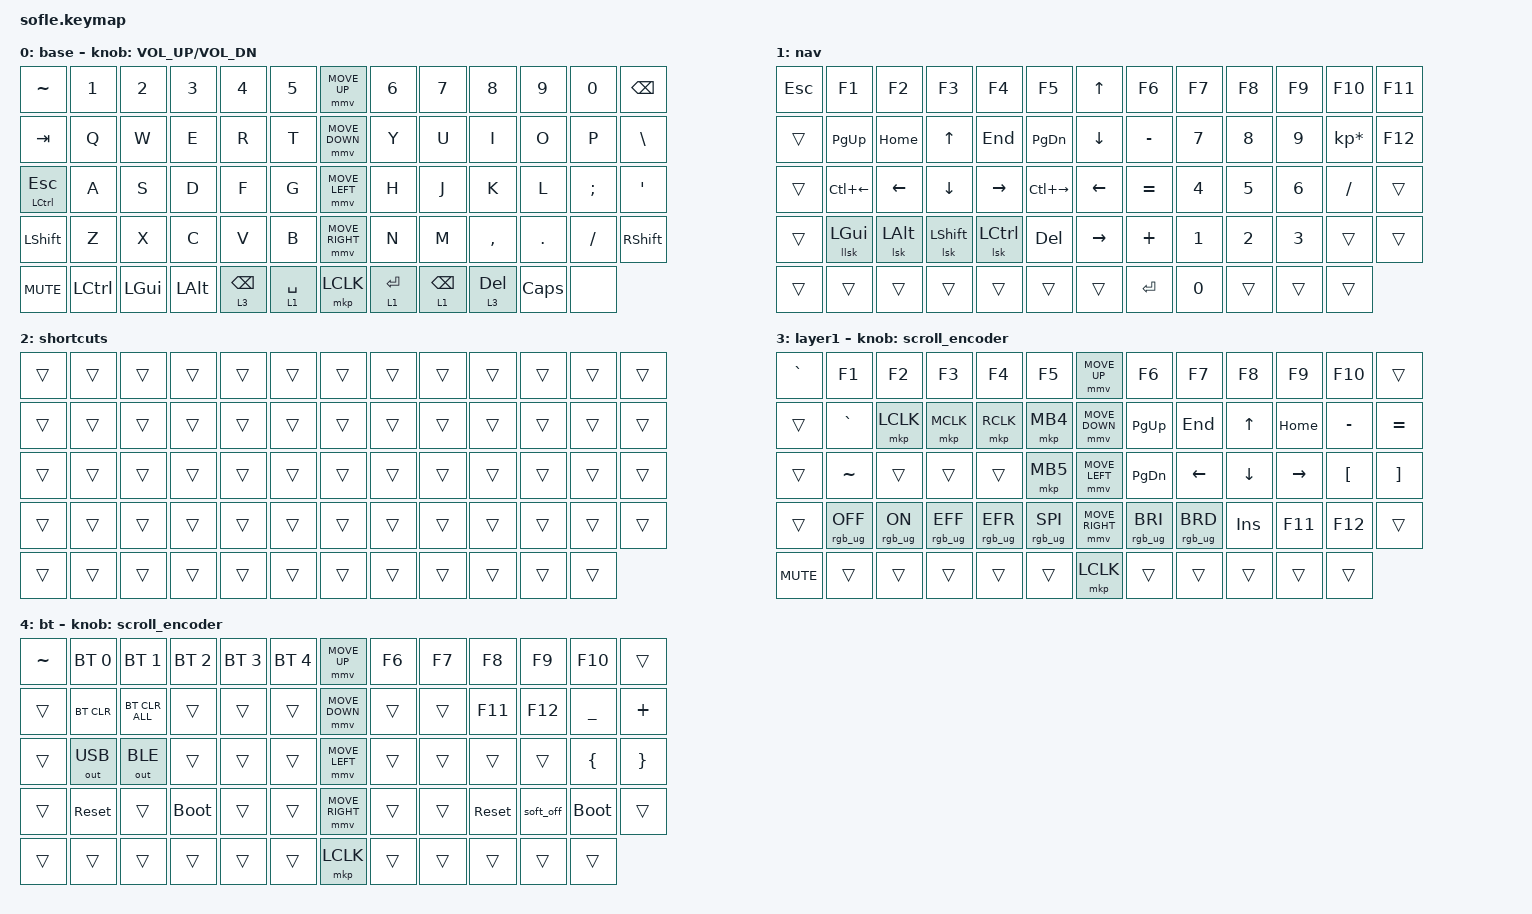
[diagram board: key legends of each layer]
#include <behaviors/mouse_keys.dtsi>
#include <behaviors.dtsi>
#include <dt-bindings/zmk/bt.h>
#include <dt-bindings/zmk/keys.h>
#include <dt-bindings/zmk/mouse.h>
#include <dt-bindings/zmk/outputs.h>
#include <dt-bindings/zmk/rgb.h>

#define ZMK_MOUSE_DEFAULT_MOVE_VAL 1200  // 600
#define ZMK_MOUSE_DEFAULT_SCRL_VAL 20    // 10
#define U_MS_U &mmv MOVE_UP
#define U_MS_D &mmv MOVE_DOWN
#define U_MS_L &mmv MOVE_LEFT
#define U_MS_R &mmv MOVE_RIGHT
#define ZMK_MOUSE_DEFAULT_MOVE_VAL 1200  //  600
#define ZMK_MOUSE_DEFAULT_SCRL_VAL 20    // 10

/ {
    behaviors {
        mmv {
            acceleration-exponent = <1>;      // 1
            time-to-max-speed-ms = <900>;    // 40
            delay-ms = <0>;                   // 0
        };

        msc {
            acceleration-exponent = <1>;      // 0
            time-to-max-speed-ms = <400>;      // 500
            delay-ms = <0>;                   //   10
        };
    };

    scroll_encoder: scroll_encoder {
        compatible = "zmk,behavior-sensor-rotate";
        #sensor-binding-cells = <0>;
        bindings = <&msc SCRL_DOWN>, <&msc SCRL_UP>;

        tap-ms = <30>;
    };

    slt: slt {
        compatible = "zmk,behavior-hold-tap";
        label = "SLT";
        bindings = <&mo>, <&kp>;

        #binding-cells = <2>;
        tapping-term-ms = <175>;
        quick-tap-ms = <155>;
        flavor = "tap-preferred";
    };

    lsk: lsk {
        compatible = "zmk,behavior-sticky-key";
        label = "LSK";
        bindings = <&kp>;
        #binding-cells = <1>;
        release-after-ms = <5000>;
        quick-release;
        ignore-modifiers;
    };

    llsk: llsk {
        compatible = "zmk,behavior-sticky-key";
        label = "LLSK";
        bindings = <&kp>;
        #binding-cells = <1>;
        release-after-ms = <5000>;
        quick-release;
        ignore-modifiers;
        lazy;
    };

    keymap {
        compatible = "zmk,keymap";

        base {
            bindings = <
&kp TILDE         &kp N1     &kp N2        &kp N3        &kp N4            &kp N5          &mmv MOVE_UP     &kp N6        &kp N7            &kp N8         &kp N9    &kp N0    &kp BACKSPACE
&kp TAB           &kp Q      &kp W         &kp E         &kp R             &kp T           &mmv MOVE_DOWN   &kp Y         &kp U             &kp I          &kp O     &kp P     &kp BSLH
&mt LCTRL ESCAPE  &kp A      &kp S         &kp D         &kp F             &kp G           &mmv MOVE_LEFT   &kp H         &kp J             &kp K          &kp L     &kp SEMI  &kp APOS
&kp LSHFT         &kp Z      &kp X         &kp C         &kp V             &kp B           &mmv MOVE_RIGHT  &kp N         &kp M             &kp COMMA      &kp DOT   &kp FSLH  &kp RIGHT_SHIFT
&kp C_MUTE        &kp LCTRL  &kp LEFT_GUI  &kp LEFT_ALT  &slt 3 BACKSPACE  &slt 1 SPACE    &mkp LCLK        &slt 1 ENTER  &slt 1 BACKSPACE  &slt 3 DELETE  &kp CAPS  &none
            >;

            sensor-bindings = <&inc_dec_kp C_VOLUME_UP C_VOL_DN>;
            display-name = "base";
        };

        nav {
            bindings = <
&kp ESC  &kp F1              &kp F2         &kp F3           &kp F4      &kp F5           &kp UP_ARROW     &kp F6     &kp F7  &kp F8  &kp F9  &kp F10          &kp F11
&trans   &kp PAGE_UP         &kp HOME       &kp UP_ARROW     &kp END     &kp PAGE_DOWN    &kp DOWN         &kp MINUS  &kp N7  &kp N8  &kp N9  &kp KP_MULTIPLY  &kp F12
&trans   &kp LC(LEFT_ARROW)  &kp LEFT       &kp DOWN_ARROW   &kp RIGHT   &kp LC(RIGHT)    &kp LEFT_ARROW   &kp EQUAL  &kp N4  &kp N5  &kp N6  &kp FSLH         &trans
&trans   &llsk LEFT_GUI      &lsk LEFT_ALT  &lsk LEFT_SHIFT  &lsk LCTRL  &kp DELETE       &kp RIGHT_ARROW  &kp PLUS   &kp N1  &kp N2  &kp N3  &trans           &trans
&trans   &trans              &trans         &trans           &trans      &trans           &trans           &kp ENTER  &kp N0  &trans  &trans  &trans
            >;
        };

        shortcuts {
            bindings = <
&trans  &trans  &trans  &trans  &trans  &trans    &trans  &trans  &trans  &trans  &trans  &trans  &trans
&trans  &trans  &trans  &trans  &trans  &trans    &trans  &trans  &trans  &trans  &trans  &trans  &trans
&trans  &trans  &trans  &trans  &trans  &trans    &trans  &trans  &trans  &trans  &trans  &trans  &trans
&trans  &trans  &trans  &trans  &trans  &trans    &trans  &trans  &trans  &trans  &trans  &trans  &trans
&trans  &trans  &trans  &trans  &trans  &trans    &trans  &trans  &trans  &trans  &trans  &trans
            >;
        };

        layer_1 {
            bindings = <
&kp GRAVE   &kp F1           &kp F2          &kp F3           &kp F4           &kp F5             &mmv MOVE_UP     &kp F6           &kp F7           &kp F8      &kp F9     &kp F10           &trans
&trans      &kp GRAVE        &mkp LCLK       &mkp MCLK        &mkp RCLK        &mkp MB4           &mmv MOVE_DOWN   &kp PG_UP        &kp END          &kp UP      &kp HOME   &kp MINUS         &kp EQUAL
&trans      &kp TILDE        &trans          &trans           &trans           &mkp MB5           &mmv MOVE_LEFT   &kp PG_DN        &kp LEFT         &kp DOWN    &kp RIGHT  &kp LEFT_BRACKET  &kp RIGHT_BRACKET
&trans      &rgb_ug RGB_OFF  &rgb_ug RGB_ON  &rgb_ug RGB_EFF  &rgb_ug RGB_EFR  &rgb_ug RGB_SPI    &mmv MOVE_RIGHT  &rgb_ug RGB_BRI  &rgb_ug RGB_BRD  &kp INSERT  &kp F11    &kp F12           &trans
&kp C_MUTE  &trans           &trans          &trans           &trans           &trans             &mkp LCLK        &trans           &trans           &trans      &trans     &trans
            >;

            display-name = "layer1";
            sensor-bindings = <&scroll_encoder>;
        };

        bt {
            bindings = <
&kp TILDE  &bt BT_SEL 0  &bt BT_SEL 1    &bt BT_SEL 2  &bt BT_SEL 3  &bt BT_SEL 4    &mmv MOVE_UP     &kp F6  &kp F7  &kp F8      &kp F9     &kp F10      &trans
&trans     &bt BT_CLR    &bt BT_CLR_ALL  &trans        &trans        &trans          &mmv MOVE_DOWN   &trans  &trans  &kp F11     &kp F12    &kp UNDER    &kp PLUS
&trans     &out OUT_USB  &out OUT_BLE    &trans        &trans        &trans          &mmv MOVE_LEFT   &trans  &trans  &trans      &trans     &kp LBRC     &kp RBRC
&trans     &sys_reset    &trans          &bootloader   &trans        &trans          &mmv MOVE_RIGHT  &trans  &trans  &sys_reset  &soft_off  &bootloader  &trans
&trans     &trans        &trans          &trans        &trans        &trans          &mkp LCLK        &trans  &trans  &trans      &trans     &trans
            >;

            sensor-bindings = <&scroll_encoder>;
        };
    };
};
